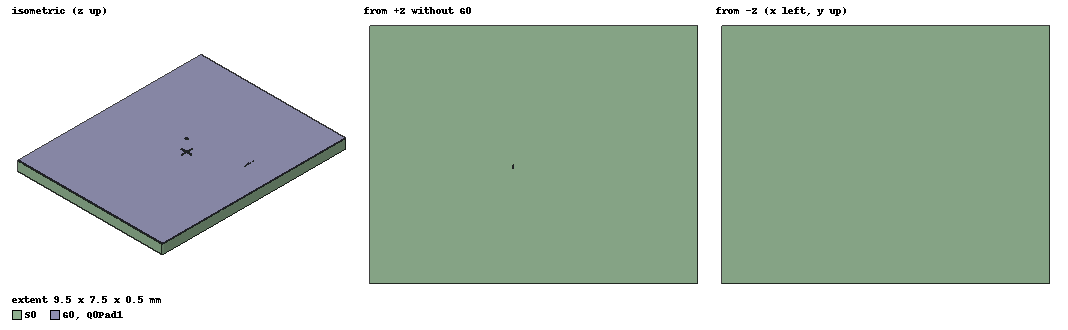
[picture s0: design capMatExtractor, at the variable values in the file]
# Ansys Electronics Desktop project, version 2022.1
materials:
  vacuum: permittivity=1
  copper: permeability=0.999991 conductivity=58000000
  silicon: permittivity=11.9
  perfect conductor: conductivity=1e+30

design capMatExtractor (Q3D Extractor, model units mm)
options: SParamCalcMethod=EqTransLine Calculate_Lossy_Dielectrics
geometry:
  S0 [silicon] = polyline(z=0um, xy in um: (-4750, -3750) (-4750, 3750) (4750, 3750) (4750, -3750) (-4750, -3750), closed, covered)
  S0.sweep_along_vector((0mm, 0mm, 500um))
  G0 [perfect conductor] = polyline(z=500um, xy in um: (-4750, -3750) (-4750, 3750) (4750, 3750) (4750, -3750) (-4750, -3750), closed, covered)
  Q0Pad1 [perfect conductor] = polyline(z=500um, xy in um: (-250, 250) (-250, 270) (-10, 270) (-10, 510) (10, 510) (10, 270) (250, 270) (250, 250) (10, 250) (10, 10) (-10, 10) (-10, 250) (-250, 250), closed, covered)
  Q0Pad1TrenchComponent = polyline(z=499.9um, xy in um: (-250, 250) (-250, 270) (-10, 270) (-10, 510) (10, 510) (10, 270) (250, 270) (250, 250) (10, 250) (10, 10) (-10, 10) (-10, 250) (-250, 250), closed, covered)
  Q0Pad1TrenchPeriphery0 = polyline(z=499.9um, xy in um: (-270, 230) (-270, 290) (270, 290) (270, 230) (-270, 230), closed, covered)
  Q0Pad1TrenchPeriphery1 = polyline(z=499.9um, xy in um: (-30, -10) (-30, 530) (30, 530) (30, -10) (-30, -10), closed, covered)
  Q0Pad1TrenchPeriphery0.sweep_along_vector((0mm, 0mm, 0.1um))
  S0.subtract(Q0Pad1TrenchPeriphery0)
  Q0Pad1TrenchPeriphery1.sweep_along_vector((0mm, 0mm, 0.1um))
  S0.subtract(Q0Pad1TrenchPeriphery1)
  Q0Pad1periphery0 = polyline(z=500um, xy in um: (-270, 230) (-270, 290) (270, 290) (270, 230) (-270, 230), closed, covered)
  G0.subtract(Q0Pad1periphery0)
  Q0Pad1periphery1 = polyline(z=500um, xy in um: (-30, -10) (-30, 530) (30, 530) (30, -10) (-30, -10), closed, covered)
  G0.subtract(Q0Pad1periphery1)
  Q0Pad2 [perfect conductor] = polyline(z=500um, xy in um: (2, -3) (2, -9) (-2, -9) (-2, -3) (2, -3), closed, covered)
  Q0Pad2TrenchComponent = polyline(z=499.9um, xy in um: (2, -3) (2, -9) (-2, -9) (-2, -3) (2, -3), closed, covered)
  Q0Pad2TrenchPeriphery0 = polyline(z=499.9um, xy in um: (22, -3) (22, -9) (-22, -9) (-22, -3) (22, -3), closed, covered)
  Q0Pad2TrenchPeriphery0.sweep_along_vector((0mm, 0mm, 0.1um))
  S0.subtract(Q0Pad2TrenchPeriphery0)
  Q0Pad2periphery0 = polyline(z=500um, xy in um: (22, -3) (22, -9) (-22, -9) (-22, -3) (22, -3), closed, covered)
  G0.subtract(Q0Pad2periphery0)
  R0Pad1 [perfect conductor] = polyline(z=500um, xy in um: (-1295.54, 2396) (-1295.54, 2406) (-895.54, 2406) (-895.54, 2396) (-1090.54, 2396) (-1090.54, 2346) (-1100.54, 2346) (-1100.54, 2396) (-1295.54, 2396), closed, covered)
  R0Pad1TrenchComponent = polyline(z=499.9um, xy in um: (-1295.54, 2396) (-1295.54, 2406) (-895.54, 2406) (-895.54, 2396) (-1090.54, 2396) (-1090.54, 2346) (-1100.54, 2346) (-1100.54, 2396) (-1295.54, 2396), closed, covered)
  R0Pad1TrenchPeriphery0 = polyline(z=499.9um, xy in um: (-1319.54, 2390) (-1319.54, 2412) (-871.54, 2412) (-871.54, 2390) (-1319.54, 2390), closed, covered)
  R0Pad1TrenchPeriphery1 = polyline(z=499.9um, xy in um: (-1106.54, 2340) (-1106.54, 2402) (-1084.54, 2402) (-1084.54, 2340) (-1106.54, 2340), closed, covered)
  R0Pad1TrenchPeriphery0.sweep_along_vector((0mm, 0mm, 0.1um))
  S0.subtract(R0Pad1TrenchPeriphery0)
  R0Pad1TrenchPeriphery1.sweep_along_vector((0mm, 0mm, 0.1um))
  S0.subtract(R0Pad1TrenchPeriphery1)
  R0Pad1periphery0 = polyline(z=500um, xy in um: (-1319.54, 2390) (-1319.54, 2412) (-871.54, 2412) (-871.54, 2390) (-1319.54, 2390), closed, covered)
  G0.subtract(R0Pad1periphery0)
  R0Pad1periphery1 = polyline(z=500um, xy in um: (-1106.54, 2340) (-1106.54, 2402) (-1084.54, 2402) (-1084.54, 2340) (-1106.54, 2340), closed, covered)
  G0.subtract(R0Pad1periphery1)
  R0Pad2 [perfect conductor] = polyline(z=500um, xy in um: (-619.01487, -300.56622) (-589.01487, -300.56911) (-589.0245, -400.56911) (-619.0245, -400.56622) (-619.02017, -355.56622) (-669.02017, -355.5614) (-669.0192, -345.5614) (-619.0192, -345.56622) (-619.01487, -300.56622), closed, covered)
  R0Pad2TrenchComponent = polyline(z=499.9um, xy in um: (-619.01487, -300.56622) (-589.01487, -300.56911) (-589.0245, -400.56911) (-619.0245, -400.56622) (-619.02017, -355.56622) (-669.02017, -355.5614) (-669.0192, -345.5614) (-619.0192, -345.56622) (-619.01487, -300.56622), closed, covered)
  R0Pad2TrenchPeriphery0 = polyline(z=499.9um, xy in um: (-649.01198, -270.56333) (-559.01198, -270.572) (-559.02739, -430.572) (-649.02739, -430.56333) (-649.01198, -270.56333), closed, covered)
  R0Pad2TrenchPeriphery1 = polyline(z=499.9um, xy in um: (-675.01862, -339.56083) (-613.01862, -339.5668) (-613.02074, -361.5668) (-675.02074, -361.56083) (-675.01862, -339.56083), closed, covered)
  R0Pad2TrenchPeriphery0.sweep_along_vector((0mm, 0mm, 0.1um))
  S0.subtract(R0Pad2TrenchPeriphery0)
  R0Pad2TrenchPeriphery1.sweep_along_vector((0mm, 0mm, 0.1um))
  S0.subtract(R0Pad2TrenchPeriphery1)
  R0Pad2periphery0 = polyline(z=500um, xy in um: (-649.01198, -270.56333) (-559.01198, -270.572) (-559.02739, -430.572) (-649.02739, -430.56333) (-649.01198, -270.56333), closed, covered)
  G0.subtract(R0Pad2periphery0)
  R0Pad2periphery1 = polyline(z=500um, xy in um: (-675.01862, -339.56083) (-613.01862, -339.5668) (-613.02074, -361.5668) (-675.02074, -361.56083) (-675.01862, -339.56083), closed, covered)
  G0.subtract(R0Pad2periphery1)
  Q0Pad1TrenchComponent.sweep_along_vector((0mm, 0mm, 0.1um))
  S0.unite(Q0Pad1TrenchComponent)
  Q0Pad2TrenchComponent.sweep_along_vector((0mm, 0mm, 0.1um))
  S0.unite(Q0Pad2TrenchComponent)
  R0Pad1TrenchComponent.sweep_along_vector((0mm, 0mm, 0.1um))
  S0.unite(R0Pad1TrenchComponent)
  R0Pad2TrenchComponent.sweep_along_vector((0mm, 0mm, 0.1um))
  S0.unite(R0Pad2TrenchComponent)
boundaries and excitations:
  ThinCondQ0Pad1: ThinConductor Objects=Q0Pad1 Material="perfect conductor" Thickness=0.1um
  ThinCondQ0Pad2: ThinConductor Objects=Q0Pad2 Material="perfect conductor" Thickness=0.1um
  ThinCondR0Pad1: ThinConductor Objects=R0Pad1 Material="perfect conductor" Thickness=0.1um
  ThinCondR0Pad2: ThinConductor Objects=R0Pad2 Material="perfect conductor" Thickness=0.1um
  ThinCondG0: ThinConductor Objects=G0 Material="perfect conductor" Thickness=0.1um
